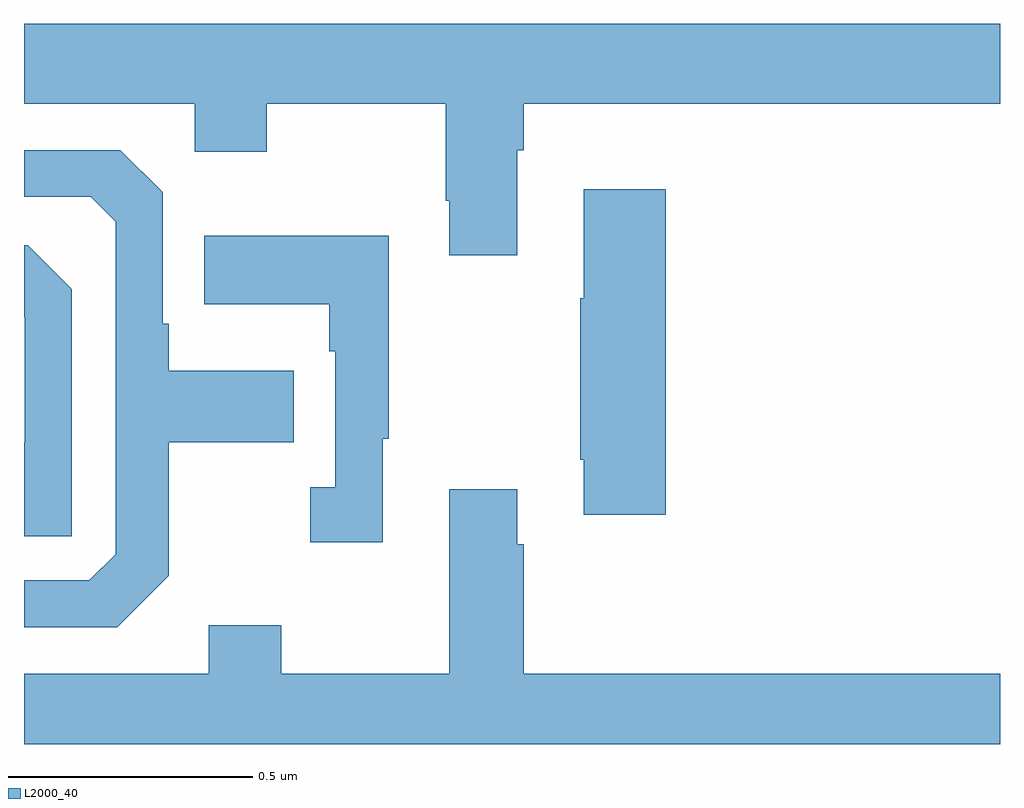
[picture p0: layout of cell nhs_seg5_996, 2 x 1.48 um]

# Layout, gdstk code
import gdstk
lib = gdstk.Library(unit=1e-6, precision=1e-09)
def P(c, l, *ps):  # polygons
    for p in ps: c.add(gdstk.Polygon(p, *l))
L2000_40 = (2000, 40)

nhs_seg5_996 = lib.new_cell('nhs_seg5_996')
P(nhs_seg5_996, L2000_40, [(124,838.112),(124.35,838.112),(124.35,838.013),(124.497,838.013),(124.497,838.112),(124.864,838.112),(124.864,837.913),(124.871,837.913),(124.871,837.801),(125.011,837.801),(125.011,838.016),(125.024,838.016),(125.024,838.112),(126,838.112),(126,838.276),(124,838.276)],
  [(124.297,837.145),(124.297,837.418),(124.553,837.418),(124.553,837.565),(124.297,837.565),(124.297,837.661),(124.284,837.661),(124.284,837.93),(124.197,838.017),(124,838.017),(124,837.921),(124.137,837.921),(124.188,837.87),(124.188,837.189),(124.134,837.135),(124,837.135),(124,837.039),(124.191,837.039)],
  [(125.315,837.937),(125.147,837.937),(125.147,837.713),(125.14,837.713),(125.14,837.382),(125.147,837.382),(125.147,837.27),(125.315,837.27)],
  [(124.735,837.425),(124.747,837.425),(124.747,837.841),(124.369,837.841),(124.369,837.701),(124.626,837.701),(124.626,837.605),(124.638,837.605),(124.638,837.326),(124.587,837.326),(124.587,837.213),(124.735,837.213)],
  [(124.098,837.732),(124.008,837.822),(124,837.822),(124,837.674),(124.002,837.672),(124.002,837.418),(124,837.418),(124,837.225),(124.098,837.225)],
  [(126,836.944),(125.024,836.944),(125.024,837.209),(125.011,837.209),(125.011,837.322),(124.871,837.322),(124.871,836.944),(124.527,836.944),(124.527,837.043),(124.379,837.043),(124.379,836.944),(124,836.944),(124,836.799),(126,836.799)])

lib.write_gds('nhs_seg5_996.gds')
